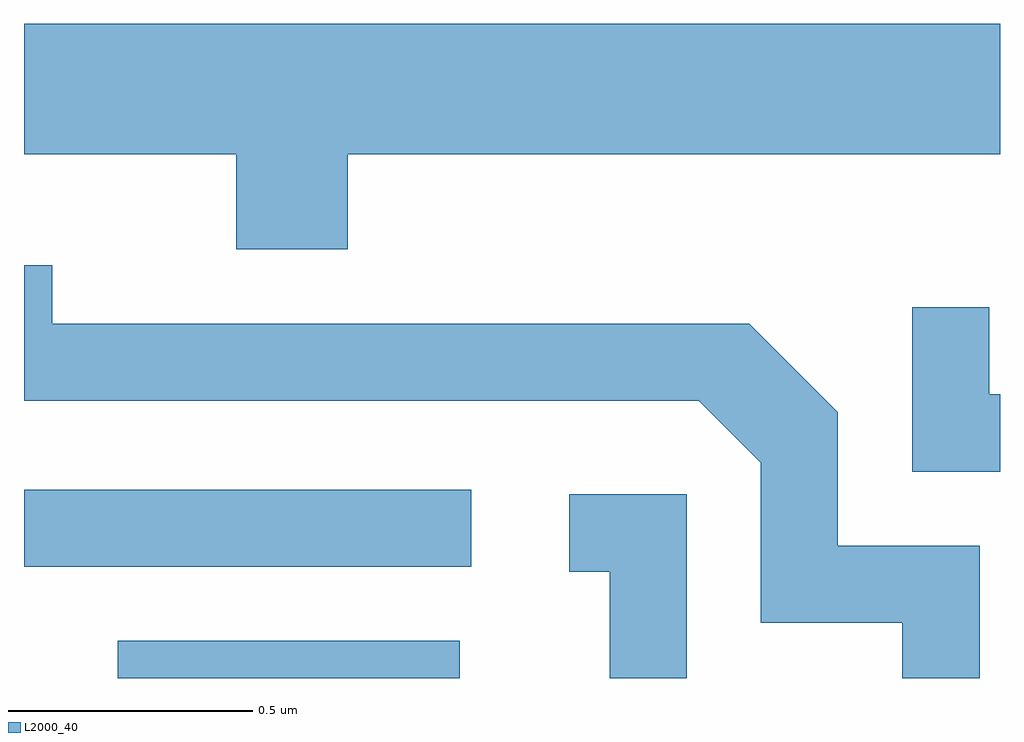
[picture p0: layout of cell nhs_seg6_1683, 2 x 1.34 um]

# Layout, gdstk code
import gdstk
lib = gdstk.Library(unit=1e-6, precision=1e-09)
def R(c, l, rs):  # rectangles x0, y0, x1, y1
    for r in rs: c.add(gdstk.rectangle(r[:2], r[2:], *l))
def P(c, l, *ps):  # polygons
    for p in ps: c.add(gdstk.Polygon(p, *l))
L2000_40 = (2000, 40)

nhs_seg6_1683 = lib.new_cell('nhs_seg6_1683')
R(nhs_seg6_1683, L2000_40, [(197.803,1571.162,198.504,1571.239), (197.611,1571.391,198.528,1571.549)])
P(nhs_seg6_1683, L2000_40, [(198.274,1572.236),(199.611,1572.236),(199.611,1572.504),(197.611,1572.504),(197.611,1572.236),(198.046,1572.236),(198.046,1572.041),(198.274,1572.041)],
  [(199.569,1571.434),(199.279,1571.434),(199.279,1571.707),(199.097,1571.889),(197.669,1571.889),(197.669,1572.009),(197.611,1572.009),(197.611,1571.731),(198.994,1571.731),(199.121,1571.604),(199.121,1571.276),(199.411,1571.276),(199.411,1571.162),(199.569,1571.162)],
  [(199.611,1571.744),(199.589,1571.744),(199.589,1571.923),(199.431,1571.923),(199.431,1571.586),(199.611,1571.586)],
  [(198.969,1571.539),(198.728,1571.539),(198.728,1571.381),(198.811,1571.381),(198.811,1571.162),(198.969,1571.162)])

lib.write_gds('nhs_seg6_1683.gds')
